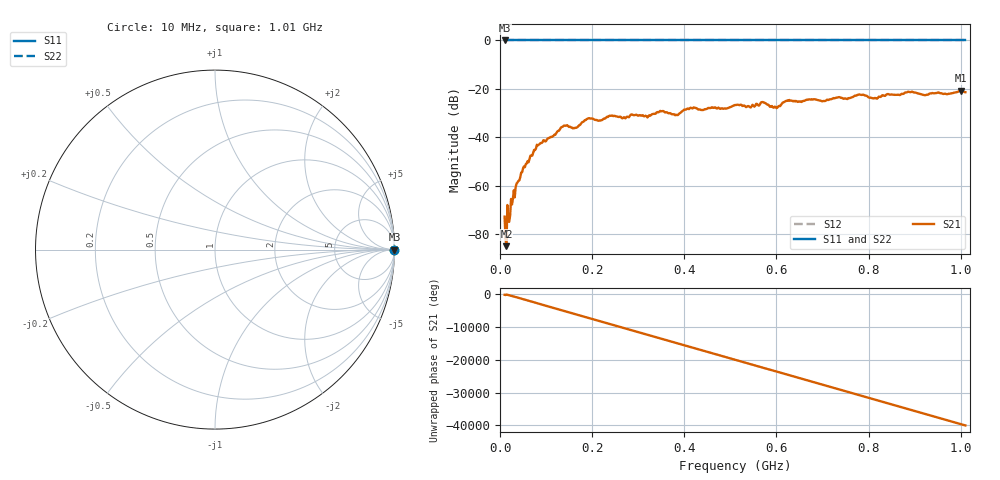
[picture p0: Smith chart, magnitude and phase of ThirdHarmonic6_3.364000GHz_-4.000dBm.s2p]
! 8/17/2025 10:39:02 AM
! C:\ANRITSUVNA\TEMP\TEMP.S2P
! CHANNEL.1
! TR.MEASUREMENT
! RAW.DATA
! RF.CORRECTION.OFF
! AVERAGING.OFF
! IF.BANDWIDTH: 5KHZ
! SWEEPTYPE:  FREQ.SWEEP(Linear)
! Reference Plane Port Info
! PORT:  PORT1  PORT2
! DISTANCE:  0  m  0  m
! TIME:  0  s  0  s
! PHASE.OFFSET:  0  deg.  0  deg.
! LOSS:  0  dB  0  dB
! REF.LOSS:  0  dB  0  dB
! REF.FREQ:  0  Hz  0  Hz
! Power Info
! POWER:  -20  dBm  -20  dBm
! EFF.POWER:  -20  dBm  -20  dBm
! SOURCE.ATTEN:  0  dB  0  dB
! TEST.ATTEN:  0  dB  0  dB
# GHZ S RI R 50.0
! FREQ.GHZ  S11RE  S11IM  S21RE  S21IM  S12RE  S12IM  S22RE  S22IM
!; PortSelection: Port_12
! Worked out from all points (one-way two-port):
!   501 points, 10 MHz to 1.01 GHz, reference 50 ohm
!   highest |S21| = -20.74 dB at 1 GHz (marker M1); lowest = -84.9 dB at 14 MHz (marker M2)
!   lowest |S11| = 0.0 dB at 10 MHz (marker M3)
!   |S11| at or under -10 dB: nowhere
!   |S22| runs from 0.0 to 0.0 dB; largest |S21 - S12| = 1.1
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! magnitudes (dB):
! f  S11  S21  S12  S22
! 10 MHz  0.0  -72.7  0.0  0.0
! 14 MHz  0.0  -84.9  0.0  0.0
! 16 MHz  0.0  -67.9  0.0  0.0
! 20 MHz  0.0  -74.9  0.0  0.0
! 38 MHz  0.0  -58.6  0.0  0.0
! 78 MHz  0.0  -44.6  0.0  0.0
! 136 MHz  0.0  -35.6  0.0  0.0
! 162 MHz  0.0  -36.2  0.0  0.0
! 178 MHz  0.0  -33.8  0.0  0.0
! 194 MHz  0.0  -32.1  0.0  0.0
! 318 MHz  0.0  -31.3  0.0  0.0
! 344 MHz  0.0  -29.6  0.0  0.0
! 384 MHz  0.0  -30.8  0.0  0.0
! 416 MHz  0.0  -28.0  0.0  0.0
! 510 MHz  0.0  -26.6  0.0  0.0
! 570 MHz  0.0  -25.4  0.0  0.0
! 598 MHz  0.0  -27.4  0.0  0.0
! 624 MHz  0.0  -24.7  0.0  0.0
! 678 MHz  0.0  -24.4  0.0  0.0
! 844 MHz  0.0  -22.2  0.0  0.0
! 1 GHz  0.0  -20.7  0.0  0.0
! 1.01 GHz  0.0  -21.3  0.0  0.0
